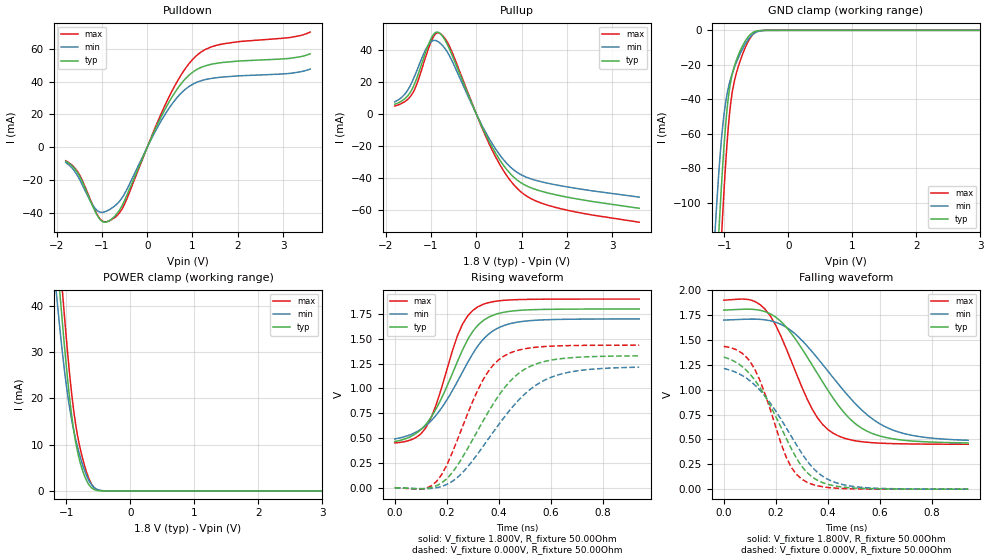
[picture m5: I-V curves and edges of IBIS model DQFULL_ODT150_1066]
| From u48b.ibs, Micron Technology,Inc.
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|MODEL DQFULL_ODT150_667 (Full-Drv IO Drvr with 150 ohm ODT Sub-model,800/1066)
[Model]   DQFULL_ODT150_1066
Model_type   I/O
Vinl = 700.000mV
Vinh = 1.10V
Vmeas = 900.000mV
Vref = 900.000mV
Cref = 0.0pF
Rref = 25.000Ohm
|   typ   min   max
C_comp   3.09pF   2.91pF   3.33pF
| Note: C_comp decreases when the ODT circuit is enabled.
[Model Spec]
| Input threshold voltage corners
Vinl   0.70V   0.650V   0.750V
Vinh   1.10V   1.05V   1.150V
| Measurement voltage corners
Vmeas   0.900V   0.850V   0.950V
| Timing spec test load voltage corners
Vref   0.900V   0.850V   0.950V
[Receiver Thresholds]
Vth   =  0.900V
Vth_min  =  0.882V
Vth_max  =  0.918V
Vinh_ac  =  0.200V
Vinh_dc  =  0.125V
Vinl_ac  = -0.200V
Vinl_dc  = -0.125V
Tslew_ac =  5.000ns |Not specified, so set to high value
Threshold_sensitivity = 0.50
Reference_supply Pullup_ref
[Voltage Range]   1.800V   1.700V   1.900V
[Pullup Reference]   1.800V   1.700V   1.900V
| Junction Temperature (Ambient temp is 25C typ, 85C min, 0C max)
[Temperature Range]   40.0   100.0   0.0
[Add Submodel]
| Submodel Name   Mode
150ohm_ODT_1066   Non-Driving
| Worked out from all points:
|   slope of the pulldown table from 0 to 0.27 V, typ, clamps not added: 16.5 ohm
|   slope of the pullup table from 0 to 0.27 V, typ, clamps not added: 16.5 ohm
|   GND clamp passes 1 mA (typ) near -0.54 V on its own axis
|   POWER clamp passes 1 mA (typ) near -0.63 V on its own axis
|   falling waveform, V_fixture 1.800V, R_fixture 50.00Ohm: 20-80 % time 207ps typ, 244ps min, 148ps max; typ from 1.8 V to 0.465 V
|   rising waveform, V_fixture 1.800V, R_fixture 50.00Ohm: 20-80 % time 145ps typ, 169ps min, 109ps max; typ from 0.465 V to 1.8 V
|   rising waveform, V_fixture 0.000V, R_fixture 50.00Ohm: 20-80 % time 189ps typ, 222ps min, 144ps max; typ from 0 V to 1.33 V
|   falling waveform, V_fixture 0.000V, R_fixture 50.00Ohm: 20-80 % time 162ps typ, 186ps min, 117ps max; typ from 1.33 V to 0 V
[Pulldown]
|   Voltage   I(typ)   I(min)   I(max)
-1.8V     -8.449mA   -9.26mA    -8.258mA
-1.495V   -17.62mA   -19.58mA   -16.84mA
-1.115V   -40.97mA   -38.37mA   -40.55mA
-975mV    -45.51mA   -39.62mA   -45.25mA
-805mV    -44.16mA   -37.5mA    -44.41mA
-505mV    -32.68mA   -28.55mA   -34.89mA
145mV     9.096mA    7.961mA    9.951mA
445mV     25.72mA    22.25mA    28.59mA
785mV     39.93mA    33.94mA    45.64mA
1.045V    46.54mA    38.98mA    54.71mA
1.59V     51.39mA    42.58mA    62.52mA
3.6V      56.92mA    47.65mA    70.2mA
[GND Clamp]
|   Voltage   I(typ)   I(min)   I(max)
-1.8V     -732.2mA   -653.2mA   -793.5mA
-1.145V   -159.8mA   -116.5mA   -197.5mA
-1.135V   -152.3mA   -110.2mA   -189.3mA
-1.085V   -116.2mA   -81.73mA   -149.7mA
-1.075V   -109.3mA   -76.67mA   -142.1mA
-1.035V   -83.8mA    -59mA      -112.9mA
-985mV    -57.11mA   -43.04mA   -80.43mA
-945mV    -41.31mA   -34.54mA   -59.19mA
-875mV    -25.18mA   -24.87mA   -35.51mA
-725mV    -9.699mA   -11.44mA   -14.8mA
-545mV    -1.049mA   -1.974mA   -2.008mA
3.6V      0A         0A         0A
[Pullup]
|   Voltage   I(typ)   I(min)   I(max)
-1.8V     5.95mA     7.443mA    4.87mA
-1.585V   9.243mA    12.06mA    7.456mA
-1.415V   15.43mA    20.03mA    12.41mA
-1.045V   43.81mA    43.37mA    41.43mA
-915mV    50.29mA    45.69mA    49.26mA
-805mV    50.11mA    44.13mA    50.09mA
-555mV    37.91mA    34.1mA     39.81mA
295mV     -17.73mA   -15.88mA   -19.28mA
575mV     -30.97mA   -27.59mA   -34.12mA
900mV     -41.1mA    -36.35mA   -46.27mA
1.64V     -49.62mA   -43.53mA   -57.36mA
3.6V      -58.76mA   -51.82mA   -67.41mA
[POWER Clamp]
|   Voltage   I(typ)   I(min)   I(max)
-1.8V     174.6mA    152.7mA    190.2mA
-1.155V   51.98mA    42.64mA    60.12mA
-1.145V   50.25mA    41.19mA    58.26mA
-1.095V   41.77mA    34.22mA    49.12mA
-1.055V   35.28mA    29.08mA    42.08mA
-945mV    19.6mA     17.62mA    24.74mA
-895mV    14.09mA    13.78mA    18.48mA
-845mV    9.866mA    10.61mA    13.6mA
-715mV    3.212mA    4.413mA    5.435mA
-575mV    369.7uA    851.5uA    854.5uA
-395mV    3.964uA    25.96uA    6.524uA
3.6V      0A         0A         0A
[Ramp]
R_load = 50.00Ohm
|   typ   min   max
dV/dt_r   796.736mV/189.104ps 728.227mV/221.699ps 861.308mV/143.963ps
dV/dt_f   801.034mV/207.073ps 725.031mV/244.364ps 869.043mV/148.226ps
[Falling Waveform]
V_fixture = 1.800V
V_fixture_min = 1.700V
V_fixture_max = 1.900V
R_fixture = 50.00Ohm
|   Time   V(typ)   V(min)   V(max)
0s        1.8V       1.7V       1.9V
100ps     1.809V     1.71V      1.904V
160ps     1.784V     1.702V     1.806V
240ps     1.63V      1.628V     1.414V
340ps     1.248V     1.381V     805.4mV
420ps     917.8mV    1.123V     563.3mV
520ps     631mV      822.7mV    480.9mV
630ps     515.9mV    616.8mV    459.6mV
750ps     479.8mV    529.4mV    453.6mV
940ps     464.9mV    491.6mV    451.6mV
[Rising Waveform]
V_fixture = 1.800V
V_fixture_min = 1.700V
V_fixture_max = 1.900V
R_fixture = 50.00Ohm
|   Time   V(typ)   V(min)   V(max)
0s        464.9mV    491.6mV    451.6mV
70ps      527.7mV    544.8mV    490.3mV
120ps     639.6mV    626.3mV    605.9mV
160ps     799.1mV    733.8mV    841.6mV
250ps     1.325V     1.114V     1.585V
280ps     1.489V     1.259V     1.729V
320ps     1.637V     1.429V     1.823V
380ps     1.739V     1.583V     1.875V
470ps     1.784V     1.667V     1.894V
940ps     1.8V       1.7V       1.9V
[Rising Waveform]
V_fixture = 0.000V
V_fixture_min = 0.000V
V_fixture_max = 0.000V
R_fixture = 50.00Ohm
|   Time   V(typ)   V(min)   V(max)
0s        -1.387uV   -1.675uV   -1.559uV
110ps     -9.46mV    -9.965mV   -11.31mV
160ps     19.73mV    -299.1uV   61.94mV
200ps     90.83mV    33.06mV    227.5mV
230ps     184.2mV    80.23mV    411.3mV
340ps     674mV      417.8mV    1.089V
420ps     1V         706.7mV    1.326V
500ps     1.194V     943.4mV    1.4V
610ps     1.289V     1.121V     1.427V
940ps     1.328V     1.214V     1.436V
[Falling Waveform]
V_fixture = 0.000V
V_fixture_min = 0.000V
V_fixture_max = 0.000V
R_fixture = 50.00Ohm
|   Time   V(typ)   V(min)   V(max)
0s        1.328V     1.214V     1.436V
70ps      1.234V     1.144V     1.367V
110ps     1.128V     1.069V     1.246V
160ps     930mV      929.9mV    948mV
240ps     512mV      617.8mV    321.4mV
280ps     309.6mV    443.7mV    148.1mV
320ps     168.6mV    285.5mV    69.7mV
390ps     56.77mV    113.6mV    20.55mV
480ps     15.55mV    34.35mV    4.809mV
940ps     -1.387uV   -1.675uV   -1.559uV
